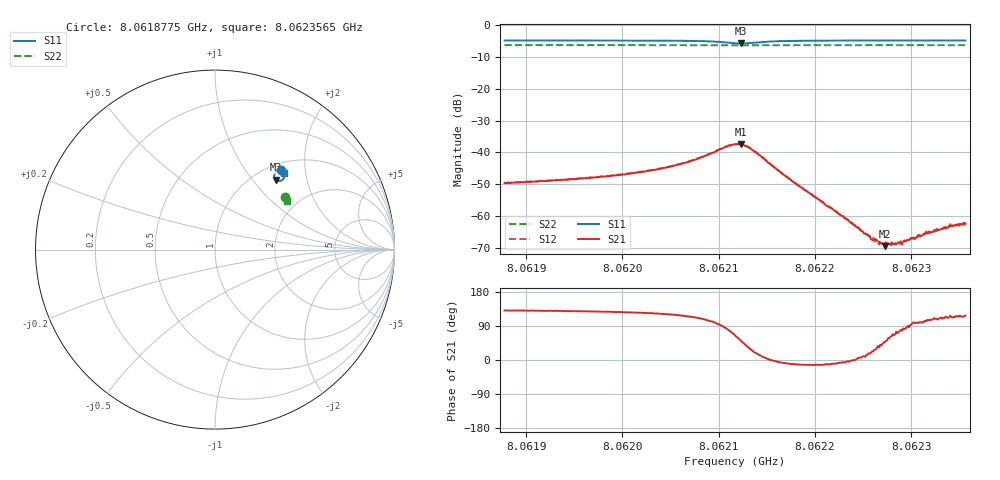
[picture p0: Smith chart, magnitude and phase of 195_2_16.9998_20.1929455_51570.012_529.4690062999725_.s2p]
#  HZ  S  RI  R  50.00
! Rohde & Schwarz Vector Network Analyzer
! Rohde-Schwarz,ZNB20-2Port,1311601062101988,3.16
! Created: UTC 3/20/2024, 11:00:49 PM
! freq[Hz]  re:S11  im:S11  re:S21  im:S21  re:S12  im:S12  re:S22  im:S22
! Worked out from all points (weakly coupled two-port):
!   401 points, 8.0618775 GHz to 8.0623565 GHz, reference 50 ohm
!   highest |S21| = -37.37 dB at 8.062123 GHz (marker M1); lowest = -69.5 dB at 8.0622727 GHz (marker M2)
!   lowest |S11| = -5.7 dB at 8.062123 GHz (marker M3), VSWR 3.14, Z = 62.5 + j66.3 ohm
!   |S11| at or under -10 dB: nowhere
!   |S22| runs from -6.3 to -6.3 dB; largest |S21 - S12| = 0.00097
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8.06187745e9  0.3686 0.4424  -0.00217 0.0025  -0.002 0.00268  0.3873 0.2939
8.0619577e9  0.3748 0.4365  -0.00243 0.00306  -0.00231 0.0032  0.3902 0.2901
8.06199962e9  0.3786 0.4322  -0.00265 0.00358  -0.00248 0.0038  0.3918 0.2881
8.06203795e9  0.3826 0.4261  -0.00293 0.00463  -0.00268 0.00486  0.3929 0.2859
8.06207149e9  0.3861 0.4153  -0.00299 0.00672  -0.00266 0.00696  0.394 0.2838
8.06210861e9  0.3706 0.3854  0.00173 0.0122  0.00243 0.0123  0.394 0.281
8.062117e9  0.3534 0.3829  0.00569 0.0123  0.00641 0.0118  0.3935 0.2807
8.06212299e9  0.3402 0.3888  0.00852 0.0105  0.00914 0.00999  0.3933 0.281
8.06213377e9  0.3297 0.4108  0.0101 0.00522  0.0106 0.00463  0.3934 0.2817
8.0621673e9  0.3531 0.439  0.00446 -0.000592  0.00445 -0.000874  0.396 0.2809
8.06219725e9  0.3655 0.4387  0.0021 -0.000492  0.00208 -0.000634  0.3975 0.2792
8.0622224e9  0.3713 0.4368  0.00114 -0.000182  0.00116 -0.000268  0.3984 0.278
8.06226073e9  0.377 0.4338  0.000382 0.000166  0.000423 0.000169  0.3998 0.276
8.06226911e9  0.378 0.4333  0.000299 0.000236  0.000314 0.000225  0.4002 0.2756
8.0622727e9  0.3784 0.433  0.000227 0.000247  0.000267 0.000246  0.4003 0.2753
8.06227749e9  0.3789 0.4326  0.000194 0.000313  0.000232 0.000298  0.4004 0.2749
8.06228229e9  0.3794 0.4323  0.000152 0.00033  0.000142 0.000331  0.4006 0.2749
8.06228708e9  0.3798 0.432  0.000101 0.000368  0.00011 0.000365  0.4008 0.2746
8.06229306e9  0.3803 0.4317  5.81e-05 0.000407  8.36e-05 0.000404  0.4009 0.2743
8.06231582e9  0.3825 0.4301  -0.000113 0.000532  -0.000134 0.000557  0.4017 0.2732
8.06234217e9  0.3847 0.4286  -0.000275 0.000647  -0.000244 0.000656  0.4025 0.2718
8.06235654e9  0.3858 0.4276  -0.000345 0.000669  -0.000307 0.000718  0.4031 0.271
